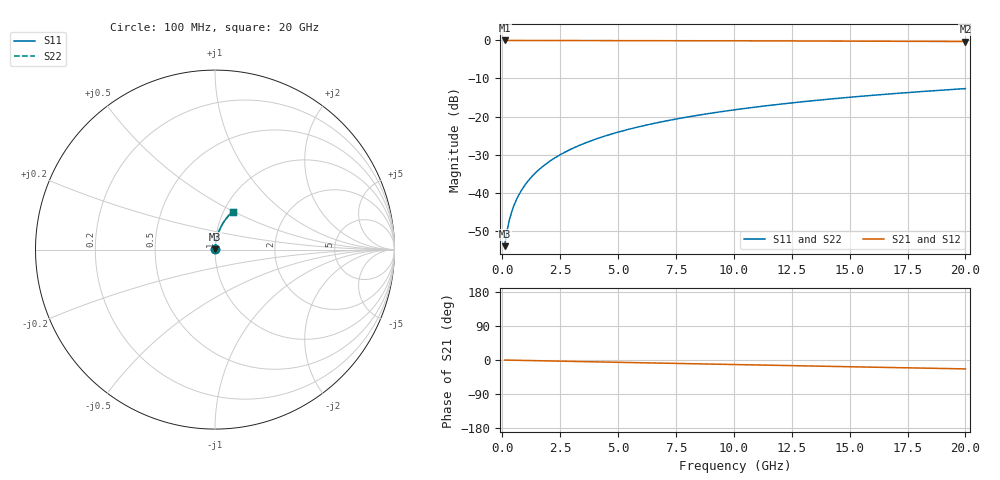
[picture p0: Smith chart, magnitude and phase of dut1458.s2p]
! Touchstone file exported from HFSS 2026.1.0
!  File:  C:/ffzhzh/LocalFiles/Ansys_Project_Files/temp_train_TMRDL_1458_1783167303_22436.aedt
!  Generated:  08:16:20 PM Jul  4, 2026
!  Design:  TMRDL
!  Project:  temp_train_TMRDL_1458_1783167303_22436
! Variables:
!  h_bsmrdl = 2um
!  h_ox = 20um
!  h_rdl = 5um
!  h_sub = 80um
!  h_tmrdl = 3.15um
!  h_tsv = 80um
!  h_via = 3um
!  l_bsmrdl = 300um
!  l_sub = 695.49um
!  l_tmrdl = 295.49um
!  m_sub = 200um
!  pitch = 59.37um
!  r_tsv = 6um
!  s_tmrdl = 10um
!  w_bsmrdl = 18um
!  w_sub = 500um
!  w_tmrdl = 29.12um
!  x_tsv_center1 = 310.05um
!  x_tsv_center2 = 628.05um
!  x_tsv_center3 = 952.66um
!  x_tsv_center4 = 1270.66um
!  x_tsv_center5 = 1595.27um
!  x_tsv_center6 = 1913.27um
# GHz S MA R 50.000000
! Terminal data exported
! Port[1] = TM_RDL1_1_T1
! Port[2] = TM_RDL1_1_T2
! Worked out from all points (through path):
!   200 points, 100 MHz to 20 GHz, reference 50 ohm
!   highest |S21| = -0.01 dB at 100 MHz (marker M1); lowest = -0.3 dB at 20 GHz (marker M2)
!   group delay of S21, straight-line fit = 3.26 ps
!   lowest |S11| = -54.0 dB at 100 MHz (marker M3), VSWR 1.00, Z = 50.1 + j0.138 ohm
!   |S11| at or under -10 dB: start of sweep to end of sweep
!   |S22| runs from -54.0 to -12.7 dB; largest |S21 - S12| = 6e-15
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0.1  0.001987 43.9  0.9986 -0.1  0.9986 -0.1  0.001987 43.9
! Gamma 0 0 0 0
! Port Impedance 50 0 50 0
0.2  0.003111 60.8  0.9985 -0.3  0.9985 -0.3  0.003111 60.8
0.3  0.00432 68.0  0.9984 -0.4  0.9984 -0.4  0.00432 68.0
0.4  0.005535 72.0  0.9983 -0.5  0.9983 -0.5  0.005535 72.0
0.5  0.00675 74.6  0.9983 -0.6  0.9983 -0.6  0.00675 74.6
0.6  0.007968 76.5  0.9982 -0.7  0.9982 -0.7  0.007968 76.5
0.8  0.01041 79.0  0.9981 -1.0  0.9981 -1.0  0.01041 79.0
1.1  0.01411 81.0  0.998 -1.3  0.998 -1.3  0.01411 81.0
1.5  0.01908 82.3  0.9979 -1.8  0.9979 -1.8  0.01908 82.3
1.8  0.02281 82.8  0.9978 -2.2  0.9978 -2.2  0.02281 82.8
2.1  0.02655 83.1  0.9976 -2.6  0.9976 -2.6  0.02655 83.1
2.7  0.03402 83.1  0.9973 -3.3  0.9973 -3.3  0.03402 83.1
3.5  0.04395 82.8  0.9968 -4.3  0.9968 -4.3  0.04395 82.8
4.2  0.05261 82.3  0.9962 -5.1  0.9962 -5.1  0.05261 82.3
5  0.06245 81.5  0.9954 -6.1  0.9954 -6.1  0.06245 81.5
5.9  0.07344 80.6  0.9944 -7.1  0.9944 -7.1  0.07344 80.6
6.8  0.08434 79.7  0.9933 -8.2  0.9933 -8.2  0.08434 79.7
8.3  0.1023 78.0  0.9913 -10.0  0.9913 -10.0  0.1023 78.1
10.1  0.1235 76.1  0.9884 -12.1  0.9884 -12.1  0.1235 76.1
13.4  0.1614 72.4  0.9822 -16.0  0.9822 -16.0  0.1614 72.4
16.7  0.1979 68.7  0.975 -19.8  0.975 -19.8  0.1979 68.7
20  0.2328 65.1  0.9669 -23.5  0.9669 -23.5  0.2328 65.1
